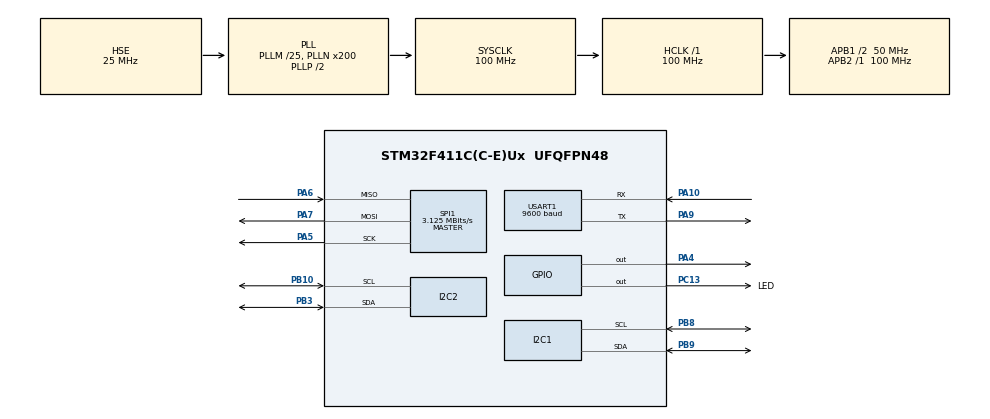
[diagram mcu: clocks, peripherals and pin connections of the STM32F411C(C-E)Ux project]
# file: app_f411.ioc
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Mcu.Family=STM32F4
Mcu.Name=STM32F411C(C-E)Ux
Mcu.Package=UFQFPN48
NVIC.PriorityGroup=NVIC_PRIORITYGROUP_4
NVIC.USART1_IRQn=true\:0\:0\:false\:false\:true\:true\:true\:true
PA10.Mode=Asynchronous
PA10.Signal=USART1_RX
PA13.Mode=Serial_Wire
PA13.Signal=SYS_JTMS-SWDIO
PA14.Mode=Serial_Wire
PA14.Signal=SYS_JTCK-SWCLK
PA4.PinState=GPIO_PIN_SET
PA4.Signal=GPIO_Output
PA5.Mode=Full_Duplex_Master
PA5.Signal=SPI1_SCK
PA6.Mode=Full_Duplex_Master
PA6.Signal=SPI1_MISO
PA7.Mode=Full_Duplex_Master
PA7.Signal=SPI1_MOSI
PA9.Mode=Asynchronous
PA9.Signal=USART1_TX
PB10.Mode=I2C
PB10.Signal=I2C2_SCL
PB3.Mode=I2C
PB3.Signal=I2C2_SDA
PB8.Mode=I2C
PB8.Signal=I2C1_SCL
PB9.Mode=I2C
PB9.Signal=I2C1_SDA
PC13-ANTI_TAMP.GPIO_Label=LED
PC13-ANTI_TAMP.PinState=GPIO_PIN_SET
PC13-ANTI_TAMP.Signal=GPIO_Output
PH0\ -\ OSC_IN.Mode=HSE-External-Oscillator
PH0\ -\ OSC_IN.Signal=RCC_OSC_IN
PH1\ -\ OSC_OUT.Mode=HSE-External-Oscillator
PH1\ -\ OSC_OUT.Signal=RCC_OSC_OUT
ProjectManager.HeapSize=0x200
ProjectManager.StackSize=0x400
ProjectManager.TargetToolchain=MDK-ARM V5
RCC.48MHZClocksFreq_Value=50000000
RCC.AHBFreq_Value=100000000
RCC.APB1CLKDivider=RCC_HCLK_DIV2
RCC.APB1Freq_Value=50000000
RCC.APB1TimFreq_Value=100000000
RCC.APB2Freq_Value=100000000
RCC.APB2TimFreq_Value=100000000
RCC.CortexFreq_Value=100000000
RCC.HCLKFreq_Value=100000000
RCC.HSE_VALUE=25000000
RCC.HSI_VALUE=16000000
RCC.LSE_VALUE=32768
RCC.PLLM=25
RCC.PLLN=200
RCC.PLLSourceVirtual=RCC_PLLSOURCE_HSE
RCC.SYSCLKFreq_VALUE=100000000
RCC.SYSCLKSource=RCC_SYSCLKSOURCE_PLLCLK
RCC.VCOOutputFreq_Value=200000000
SPI1.BaudRatePrescaler=SPI_BAUDRATEPRESCALER_32
SPI1.CalculateBaudRate=3.125 MBits/s
SPI1.Direction=SPI_DIRECTION_2LINES
SPI1.Mode=SPI_MODE_MASTER
SPI1.VirtualType=VM_MASTER
USART1.BaudRate=9600
USART1.VirtualMode=VM_ASYNC
board=custom

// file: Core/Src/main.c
/* USER CODE BEGIN Header */
/**
  ******************************************************************************
  * @file           : main.c
  * @brief          : Main program body
  ******************************************************************************
  * @attention
  *
  * Copyright (c) 2026 STMicroelectronics.
  * All rights reserved.
  *
  * This software is licensed under terms that can be found in the LICENSE file
  * in the root directory of this software component.
  * If no LICENSE file comes with this software, it is provided AS-IS.
  *
  ******************************************************************************
  */
/* USER CODE END Header */
#include "main.h"
#include "i2c.h"
#include "spi.h"
#include "usart.h"
#include "gpio.h"

/* USER CODE BEGIN Includes */
#include <string.h>
#include <stdio.h>

/* USER CODE END Includes */

/* USER CODE BEGIN PV */
uint8_t app_rx_buf[10] = {0}; // App 串口接收缓冲区
volatile uint8_t need_reboot_to_ota = 0; // 升级请求：回调置 1，主循环处理
volatile uint8_t need_report_version = 0;
volatile uint8_t uart_error_pending = 0; // 中断置 1，主循环读取这块内存并恢复接收
uint8_t app_version_msg[] = "APP_VERSION=1.0.3\r\n";
/* USER CODE END PV */

void SystemClock_Config(void);
/* USER CODE BEGIN PFP */
void App_TriggerOTA_Reboot(void);
/* USER CODE END PFP */

int main(void)
{
  /* USER CODE BEGIN 1 */
  SCB->VTOR = 0x08010000U; // F411 差异：App 向量表地址与 Keil 链接起点一致
  __DSB();                // 确保前面的内存访问完成
  __ISB();                // 后续指令使用更新后的配置
  __enable_irq();         // 设置向量表后，恢复 Bootloader 关闭的可屏蔽中断
  /* USER CODE END 1 */

  /* MCU Configuration--------------------------------------------------------*/

  /* Reset of all peripherals, Initializes the Flash interface and the Systick. */
  HAL_Init();

  /* Configure the system clock */
  SystemClock_Config();

  /* Initialize all configured peripherals */
  MX_GPIO_Init();
  MX_I2C1_Init();
  MX_I2C2_Init();
  MX_SPI1_Init();
  MX_USART1_UART_Init();
  /* USER CODE BEGIN 2 */
  HAL_UART_Transmit(&huart1, (uint8_t *)"Hello! I am App in 2nd Floor!\r\n", 31, 1000);

  HAL_UARTEx_ReceiveToIdle_IT(&huart1, app_rx_buf, sizeof(app_rx_buf));
  /* USER CODE END 2 */

  /* Infinite loop */
  /* USER CODE BEGIN WHILE */
  while (1)
  {
    if (uart_error_pending)
    {
      uart_error_pending = 0; // 先清标记，新错误仍能再次置 1
      HAL_UART_AbortReceive(&huart1); // 结束原来未完成的接收
      __HAL_UART_CLEAR_OREFLAG(&huart1); // 读取状态和数据寄存器，清除接收溢出

      if (HAL_UARTEx_ReceiveToIdle_IT(&huart1, app_rx_buf, sizeof(app_rx_buf)) != HAL_OK)
      {
        uart_error_pending = 1; // 开启失败，下一轮主循环再尝试
      }
    }

    if (need_reboot_to_ota)
    {
      need_reboot_to_ota = 0;
      App_TriggerOTA_Reboot();
    }
    if (need_report_version)
    {
        need_report_version = 0; // 清除请求，避免每轮重复发送

        HAL_UART_Transmit(&huart1,app_version_msg,sizeof(app_version_msg) - 1U,1000);
    }
	  HAL_GPIO_TogglePin(GPIOC,GPIO_PIN_13);
	  HAL_Delay(2000);

    /* USER CODE END WHILE */

  }
}

void SystemClock_Config(void)
{
  RCC_OscInitTypeDef RCC_OscInitStruct = {0};
  RCC_ClkInitTypeDef RCC_ClkInitStruct = {0};

  /** Configure the main internal regulator output voltage
  */
  __HAL_RCC_PWR_CLK_ENABLE();
  __HAL_PWR_VOLTAGESCALING_CONFIG(PWR_REGULATOR_VOLTAGE_SCALE1);

  /** Initializes the RCC Oscillators according to the specified parameters
  * in the RCC_OscInitTypeDef structure.
  */
  RCC_OscInitStruct.OscillatorType = RCC_OSCILLATORTYPE_HSE;
  RCC_OscInitStruct.HSEState = RCC_HSE_ON;
  RCC_OscInitStruct.PLL.PLLState = RCC_PLL_ON;
  RCC_OscInitStruct.PLL.PLLSource = RCC_PLLSOURCE_HSE;
  RCC_OscInitStruct.PLL.PLLM = 25;
  RCC_OscInitStruct.PLL.PLLN = 200;
  RCC_OscInitStruct.PLL.PLLP = RCC_PLLP_DIV2;
  RCC_OscInitStruct.PLL.PLLQ = 4;
  if (HAL_RCC_OscConfig(&RCC_OscInitStruct) != HAL_OK)
  {
    Error_Handler();
  }

  /** Initializes the CPU, AHB and APB buses clocks
  */
  RCC_ClkInitStruct.ClockType = RCC_CLOCKTYPE_HCLK|RCC_CLOCKTYPE_SYSCLK
                              |RCC_CLOCKTYPE_PCLK1|RCC_CLOCKTYPE_PCLK2;
  RCC_ClkInitStruct.SYSCLKSource = RCC_SYSCLKSOURCE_PLLCLK;
  RCC_ClkInitStruct.AHBCLKDivider = RCC_SYSCLK_DIV1;
  RCC_ClkInitStruct.APB1CLKDivider = RCC_HCLK_DIV2;
  RCC_ClkInitStruct.APB2CLKDivider = RCC_HCLK_DIV1;

  if (HAL_RCC_ClockConfig(&RCC_ClkInitStruct, FLASH_LATENCY_3) != HAL_OK)
  {
    Error_Handler();
  }
}

/* USER CODE BEGIN 4 */
void App_TriggerOTA_Reboot(void)
{
    uint8_t flag[4] = {0xAA, 0x55, 0xAA, 0x55}; // EEPROM 地址 0~3 依次存 AA 55 AA 55，按小端读取为 0x55AA55AA
    uint8_t readback[4] = {0}; // EEPROM 读回值，用于核对

    if (HAL_I2C_Mem_Write(&hi2c2,0xA0,0x00,I2C_MEMADD_SIZE_8BIT,flag,sizeof(flag),100) != HAL_OK)
    {
        printf("OTA flag write failed\r\n");
        return;
    }

    uint32_t start = HAL_GetTick(); // 等待起始时间（ms）
    while (HAL_I2C_IsDeviceReady(&hi2c2, 0xA0, 1, 2) != HAL_OK)
    {
        if ((uint32_t)(HAL_GetTick() - start) >= 20U)
        {
            printf("EEPROM not ready\r\n");
            return;
        }
        HAL_Delay(1);
    }

    for (uint16_t i = 0; i < sizeof(readback); i++)
    {
        if (HAL_I2C_Mem_Read(&hi2c2, 0xA0, i, I2C_MEMADD_SIZE_8BIT, &readback[i], 1, 100) != HAL_OK)
        {
            printf("OTA flag read failed\r\n");
            return;
        }
    }

    if (memcmp(flag, readback, sizeof(flag)) != 0)
    {
        printf("OTA flag verify failed\r\n");
        return;
    }

    NVIC_SystemReset(); // 标志写入并校验通过后复位，由 Bootloader 接管
}

// huart：串口句柄；Size：本次接收字节数
void HAL_UARTEx_RxEventCallback(UART_HandleTypeDef *huart,uint16_t Size)
{
    if (huart->Instance == USART1)
    {
        if (Size == 1 && app_rx_buf[0] == 'U')
        {
            need_reboot_to_ota = 1;
        }
        else if (Size == 1 && app_rx_buf[0] == 'V')
        {
            need_report_version = 1;
        }

        HAL_UARTEx_ReceiveToIdle_IT(&huart1, app_rx_buf, sizeof(app_rx_buf));
    }
}

void HAL_UART_ErrorCallback(UART_HandleTypeDef *huart)
{
    if (huart->Instance == USART1)
    {
        uart_error_pending = 1; // 中断里只提恢复请求，由主循环处理
    }
}
/* USER CODE END 4 */

void Error_Handler(void)
{
  __disable_irq();
  while (1)
  {
  }
}
